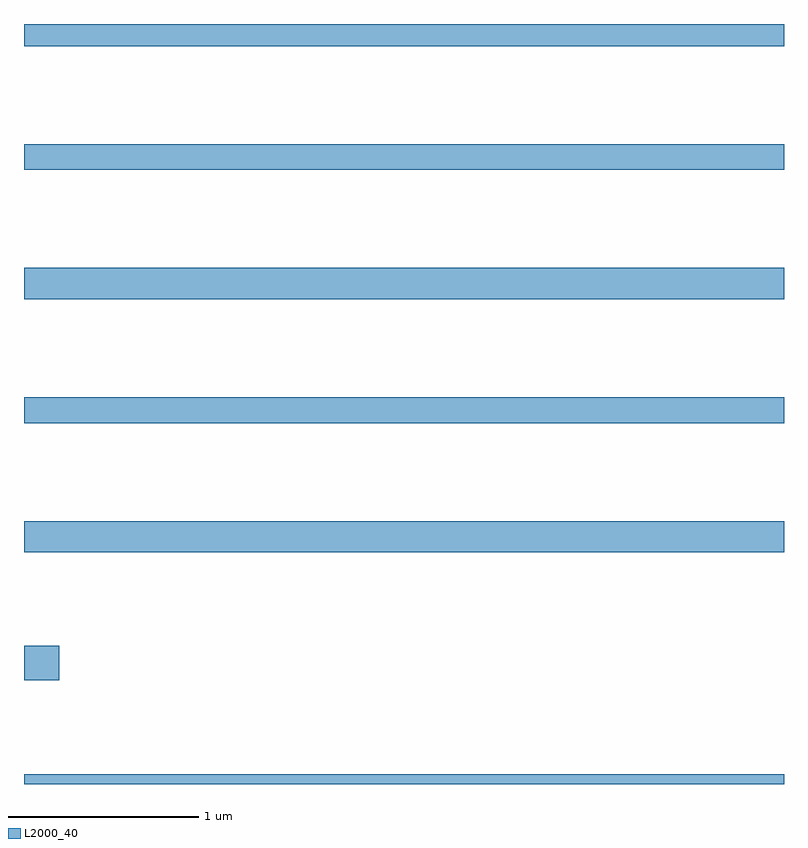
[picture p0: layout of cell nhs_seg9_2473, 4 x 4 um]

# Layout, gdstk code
import gdstk
lib = gdstk.Library(unit=1e-6, precision=1e-09)
def R(c, l, rs):  # rectangles x0, y0, x1, y1
    for r in rs: c.add(gdstk.rectangle(r[:2], r[2:], *l))
L2000_40 = (2000, 40)

nhs_seg9_2473 = lib.new_cell('nhs_seg9_2473')
R(nhs_seg9_2473, L2000_40, [(251,1228.5,255,1228.552), (251,1229.045,251.185,1229.228), (251,1229.72,255,1229.884), (251,1230.4,255,1230.536), (251,1231.052,255,1231.216), (251,1231.732,255,1231.868), (251,1232.384,255,1232.5)])

lib.write_gds('nhs_seg9_2473.gds')
